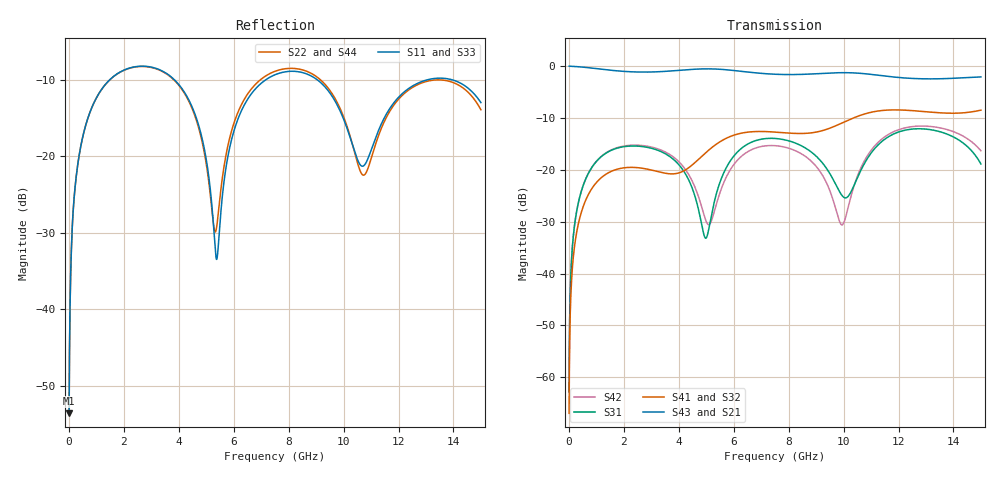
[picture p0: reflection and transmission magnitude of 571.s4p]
! Created with skrf 1.8.0 (http://scikit-rf.org).
# GHz S RI R 50.0
!freq ReS11 ImS11 ReS12 ImS12 ReS13 ImS13
! ReS14 ImS14
! ReS21 ImS21 ReS22 ImS22 ReS23 ImS23
! ReS24 ImS24
! ReS31 ImS31 ReS32 ImS32 ReS33 ImS33
! ReS34 ImS34
! ReS41 ImS41 ReS42 ImS42 ReS43 ImS43
! ReS44 ImS44
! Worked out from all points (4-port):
!   2499 points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, 5 MHz to 15 GHz, reference 50 ohm
!   strongest paths, dB at 5 MHz, 3.476 GHz, 7.19 GHz, 11.1 GHz, 15 GHz:
!     S43: 0.0, -1.0, -1.5, -1.7, -2.1
!     S21: 0.0, -1.0, -1.5, -1.7, -2.1
!     S41: -66.9, -20.6, -12.6, -8.8, -8.5
!     S32: -66.9, -20.8, -12.7, -8.8, -8.6
!     S31: -62.8, -16.8, -14.0, -16.1, -18.9
!     S42: -62.8, -16.5, -15.4, -15.6, -16.3
!   lowest |S11| = -53.6 dB at 5 MHz (marker M1), VSWR 1.00, Z = 50.2 + j0.127 ohm
!   |S11| at or under -10 dB: start of sweep to 1.486 GHz; 3.838 GHz to 7.168 GHz (3.33 GHz wide, 60.5 % of centre); 9.038 GHz to 13.06 GHz (4.019 GHz wide, 36.4 % of centre)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
0.005  0.00167 0.00126  0.9983 -0.00326  8.6e-05 0.00072  -8.33e-05 -0.000442
       0.9983 -0.00326  0.00167 0.00126  -8.33e-05 -0.000442  8.61e-05 0.000719
       8.6e-05 0.00072  -8.33e-05 -0.000442  0.00167 0.00126  0.9983 -0.00326
       -8.33e-05 -0.000442  8.61e-05 0.000719  0.9983 -0.00326  0.00167 0.00126
0.3126303  0.0249 0.0829  0.9659 -0.2024  0.0121 0.0426  -0.0102 -0.0259
           0.9659 -0.2024  0.0249 0.0829  -0.0101 -0.0259  0.0125 0.0426
           0.0121 0.0426  -0.0101 -0.0259  0.025 0.0829  0.9659 -0.2024
           -0.0102 -0.0259  0.0125 0.0426  0.9659 -0.2024  0.0249 0.0829
1.519383  0.2684 0.1749  0.5505 -0.7273  0.1358 0.0713  -0.096 -0.00594
          0.5505 -0.7273  0.2671 0.1757  -0.0957 -0.00628  0.1406 0.0648
          0.1358 0.0713  -0.0957 -0.00628  0.2686 0.1748  0.5505 -0.7273
          -0.096 -0.00594  0.1406 0.0648  0.5505 -0.7273  0.2669 0.1758
5.227178  0.023 -0.0358  -0.9275 -0.1476  0.0264 0.0316  -0.0193 0.1649
          -0.9275 -0.1476  0.0329 -0.0243  -0.0252 0.1641  -0.0277 0.0208
          0.0264 0.0316  -0.0252 0.1641  0.0217 -0.0364  -0.9275 -0.1478
          -0.0193 0.1649  -0.0277 0.0208  -0.9275 -0.1478  0.0347 -0.0247
8.359733  0.3554 -0.0288  0.0122 0.8299  0.1361 -0.1114  0.2124 -0.0712
          0.0122 0.8299  0.3681 -0.0517  0.2126 -0.0581  0.1311 -0.0684
          0.1361 -0.1114  0.2126 -0.0581  0.3562 -0.032  0.0123 0.8303
          0.2124 -0.0712  0.1311 -0.0684  0.0123 0.8303  0.3652 -0.0491
11.04835  0.1043 0.0498  0.8291 -0.0154  0.0309 0.1474  -0.04 -0.3588
          0.8291 -0.0154  0.0932 0.0432  -0.0165 -0.3605  0.0541 0.1505
          0.0309 0.1474  -0.0165 -0.3605  0.1011 0.0554  0.829 -0.0163
          -0.04 -0.3588  0.0541 0.1505  0.829 -0.0163  0.0958 0.0404
15  0.1755 -0.1396  -0.437 -0.6542  0.0625 -0.0954  -0.2743 0.2574
    -0.437 -0.6542  0.153 -0.1309  -0.2984 0.2209  0.0287 -0.1499
    0.0625 -0.0954  -0.2984 0.2209  0.1718 -0.156  -0.4374 -0.6534
    -0.2743 0.2574  0.0287 -0.1499  -0.4374 -0.6534  0.1607 -0.1137
